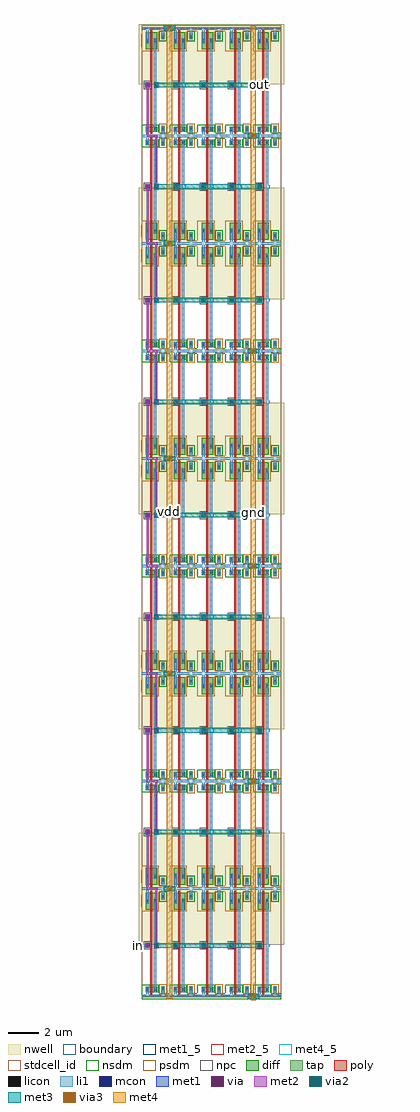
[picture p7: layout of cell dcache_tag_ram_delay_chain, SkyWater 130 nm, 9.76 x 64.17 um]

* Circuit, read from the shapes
.subckt dcache_tag_ram_delay_chain gnd in out vdd
XM1 dcache_tag_ram_pinv_15_1/A in gnd gnd sky130_fd_pr__nfet_01v8 w=0.36 l=0.15
XM2 dcache_tag_ram_pinv_15_10/A dcache_tag_ram_pinv_15_1/A gnd gnd sky130_fd_pr__nfet_01v8 w=0.36 l=0.15
XM3 dcache_tag_ram_pinv_15_11/A dcache_tag_ram_pinv_15_10/A gnd gnd sky130_fd_pr__nfet_01v8 w=0.36 l=0.15
XM4 dcache_tag_ram_pinv_15_16/A dcache_tag_ram_pinv_15_11/A gnd gnd sky130_fd_pr__nfet_01v8 w=0.36 l=0.15
XM5 dcache_tag_ram_pinv_15_21/A dcache_tag_ram_pinv_15_16/A gnd gnd sky130_fd_pr__nfet_01v8 w=0.36 l=0.15
XM6 dcache_tag_ram_pinv_15_26/A dcache_tag_ram_pinv_15_21/A gnd gnd sky130_fd_pr__nfet_01v8 w=0.36 l=0.15
XM7 dcache_tag_ram_pinv_15_31/A dcache_tag_ram_pinv_15_26/A gnd gnd sky130_fd_pr__nfet_01v8 w=0.36 l=0.15
XM8 dcache_tag_ram_pinv_15_36/A dcache_tag_ram_pinv_15_31/A gnd gnd sky130_fd_pr__nfet_01v8 w=0.36 l=0.15
XM9 out dcache_tag_ram_pinv_15_36/A gnd gnd sky130_fd_pr__nfet_01v8 w=0.36 l=0.15
XM10 dcache_tag_ram_pinv_15_1/Z dcache_tag_ram_pinv_15_1/A gnd gnd sky130_fd_pr__nfet_01v8 w=0.36 l=0.15
XM11 dcache_tag_ram_pinv_15_6/Z dcache_tag_ram_pinv_15_10/A gnd gnd sky130_fd_pr__nfet_01v8 w=0.36 l=0.15
XM12 dcache_tag_ram_pinv_15_11/Z dcache_tag_ram_pinv_15_11/A gnd gnd sky130_fd_pr__nfet_01v8 w=0.36 l=0.15
XM13 dcache_tag_ram_pinv_15_16/Z dcache_tag_ram_pinv_15_16/A gnd gnd sky130_fd_pr__nfet_01v8 w=0.36 l=0.15
XM14 dcache_tag_ram_pinv_15_21/Z dcache_tag_ram_pinv_15_21/A gnd gnd sky130_fd_pr__nfet_01v8 w=0.36 l=0.15
XM15 dcache_tag_ram_pinv_15_26/Z dcache_tag_ram_pinv_15_26/A gnd gnd sky130_fd_pr__nfet_01v8 w=0.36 l=0.15
XM16 dcache_tag_ram_pinv_15_31/Z dcache_tag_ram_pinv_15_31/A gnd gnd sky130_fd_pr__nfet_01v8 w=0.36 l=0.15
XM17 dcache_tag_ram_pinv_15_36/Z dcache_tag_ram_pinv_15_36/A gnd gnd sky130_fd_pr__nfet_01v8 w=0.36 l=0.15
XM18 dcache_tag_ram_pinv_15_41/Z out gnd gnd sky130_fd_pr__nfet_01v8 w=0.36 l=0.15
XM19 dcache_tag_ram_pinv_15_2/Z dcache_tag_ram_pinv_15_1/A gnd gnd sky130_fd_pr__nfet_01v8 w=0.36 l=0.15
XM20 dcache_tag_ram_pinv_15_7/Z dcache_tag_ram_pinv_15_10/A gnd gnd sky130_fd_pr__nfet_01v8 w=0.36 l=0.15
XM21 dcache_tag_ram_pinv_15_12/Z dcache_tag_ram_pinv_15_11/A gnd gnd sky130_fd_pr__nfet_01v8 w=0.36 l=0.15
XM22 dcache_tag_ram_pinv_15_17/Z dcache_tag_ram_pinv_15_16/A gnd gnd sky130_fd_pr__nfet_01v8 w=0.36 l=0.15
XM23 dcache_tag_ram_pinv_15_22/Z dcache_tag_ram_pinv_15_21/A gnd gnd sky130_fd_pr__nfet_01v8 w=0.36 l=0.15
XM24 dcache_tag_ram_pinv_15_27/Z dcache_tag_ram_pinv_15_26/A gnd gnd sky130_fd_pr__nfet_01v8 w=0.36 l=0.15
XM25 dcache_tag_ram_pinv_15_32/Z dcache_tag_ram_pinv_15_31/A gnd gnd sky130_fd_pr__nfet_01v8 w=0.36 l=0.15
XM26 dcache_tag_ram_pinv_15_37/Z dcache_tag_ram_pinv_15_36/A gnd gnd sky130_fd_pr__nfet_01v8 w=0.36 l=0.15
XM27 dcache_tag_ram_pinv_15_42/Z out gnd gnd sky130_fd_pr__nfet_01v8 w=0.36 l=0.15
XM28 dcache_tag_ram_pinv_15_3/Z dcache_tag_ram_pinv_15_1/A gnd gnd sky130_fd_pr__nfet_01v8 w=0.36 l=0.15
XM29 dcache_tag_ram_pinv_15_8/Z dcache_tag_ram_pinv_15_10/A gnd gnd sky130_fd_pr__nfet_01v8 w=0.36 l=0.15
XM30 dcache_tag_ram_pinv_15_13/Z dcache_tag_ram_pinv_15_11/A gnd gnd sky130_fd_pr__nfet_01v8 w=0.36 l=0.15
XM31 dcache_tag_ram_pinv_15_18/Z dcache_tag_ram_pinv_15_16/A gnd gnd sky130_fd_pr__nfet_01v8 w=0.36 l=0.15
XM32 dcache_tag_ram_pinv_15_23/Z dcache_tag_ram_pinv_15_21/A gnd gnd sky130_fd_pr__nfet_01v8 w=0.36 l=0.15
XM33 dcache_tag_ram_pinv_15_28/Z dcache_tag_ram_pinv_15_26/A gnd gnd sky130_fd_pr__nfet_01v8 w=0.36 l=0.15
XM34 dcache_tag_ram_pinv_15_33/Z dcache_tag_ram_pinv_15_31/A gnd gnd sky130_fd_pr__nfet_01v8 w=0.36 l=0.15
XM35 dcache_tag_ram_pinv_15_38/Z dcache_tag_ram_pinv_15_36/A gnd gnd sky130_fd_pr__nfet_01v8 w=0.36 l=0.15
XM36 dcache_tag_ram_pinv_15_43/Z out gnd gnd sky130_fd_pr__nfet_01v8 w=0.36 l=0.15
XM37 dcache_tag_ram_pinv_15_4/Z dcache_tag_ram_pinv_15_1/A gnd gnd sky130_fd_pr__nfet_01v8 w=0.36 l=0.15
XM38 dcache_tag_ram_pinv_15_9/Z dcache_tag_ram_pinv_15_10/A gnd gnd sky130_fd_pr__nfet_01v8 w=0.36 l=0.15
XM39 dcache_tag_ram_pinv_15_14/Z dcache_tag_ram_pinv_15_11/A gnd gnd sky130_fd_pr__nfet_01v8 w=0.36 l=0.15
XM40 dcache_tag_ram_pinv_15_19/Z dcache_tag_ram_pinv_15_16/A gnd gnd sky130_fd_pr__nfet_01v8 w=0.36 l=0.15
XM41 dcache_tag_ram_pinv_15_24/Z dcache_tag_ram_pinv_15_21/A gnd gnd sky130_fd_pr__nfet_01v8 w=0.36 l=0.15
XM42 dcache_tag_ram_pinv_15_29/Z dcache_tag_ram_pinv_15_26/A gnd gnd sky130_fd_pr__nfet_01v8 w=0.36 l=0.15
XM43 dcache_tag_ram_pinv_15_34/Z dcache_tag_ram_pinv_15_31/A gnd gnd sky130_fd_pr__nfet_01v8 w=0.36 l=0.15
XM44 dcache_tag_ram_pinv_15_39/Z dcache_tag_ram_pinv_15_36/A gnd gnd sky130_fd_pr__nfet_01v8 w=0.36 l=0.15
XM45 dcache_tag_ram_pinv_15_44/Z out gnd gnd sky130_fd_pr__nfet_01v8 w=0.36 l=0.15
XM46 dcache_tag_ram_pinv_15_1/A in vdd vdd sky130_fd_pr__pfet_01v8 w=1.12 l=0.15
XM47 dcache_tag_ram_pinv_15_10/A dcache_tag_ram_pinv_15_1/A vdd vdd sky130_fd_pr__pfet_01v8 w=1.12 l=0.15
XM48 dcache_tag_ram_pinv_15_11/A dcache_tag_ram_pinv_15_10/A vdd vdd sky130_fd_pr__pfet_01v8 w=1.12 l=0.15
XM49 dcache_tag_ram_pinv_15_16/A dcache_tag_ram_pinv_15_11/A vdd vdd sky130_fd_pr__pfet_01v8 w=1.12 l=0.15
XM50 dcache_tag_ram_pinv_15_21/A dcache_tag_ram_pinv_15_16/A vdd vdd sky130_fd_pr__pfet_01v8 w=1.12 l=0.15
XM51 dcache_tag_ram_pinv_15_26/A dcache_tag_ram_pinv_15_21/A vdd vdd sky130_fd_pr__pfet_01v8 w=1.12 l=0.15
XM52 dcache_tag_ram_pinv_15_31/A dcache_tag_ram_pinv_15_26/A vdd vdd sky130_fd_pr__pfet_01v8 w=1.12 l=0.15
XM53 dcache_tag_ram_pinv_15_36/A dcache_tag_ram_pinv_15_31/A vdd vdd sky130_fd_pr__pfet_01v8 w=1.12 l=0.15
XM54 out dcache_tag_ram_pinv_15_36/A vdd vdd sky130_fd_pr__pfet_01v8 w=1.12 l=0.15
XM55 dcache_tag_ram_pinv_15_1/Z dcache_tag_ram_pinv_15_1/A vdd vdd sky130_fd_pr__pfet_01v8 w=1.12 l=0.15
XM56 dcache_tag_ram_pinv_15_6/Z dcache_tag_ram_pinv_15_10/A vdd vdd sky130_fd_pr__pfet_01v8 w=1.12 l=0.15
XM57 dcache_tag_ram_pinv_15_11/Z dcache_tag_ram_pinv_15_11/A vdd vdd sky130_fd_pr__pfet_01v8 w=1.12 l=0.15
XM58 dcache_tag_ram_pinv_15_16/Z dcache_tag_ram_pinv_15_16/A vdd vdd sky130_fd_pr__pfet_01v8 w=1.12 l=0.15
XM59 dcache_tag_ram_pinv_15_21/Z dcache_tag_ram_pinv_15_21/A vdd vdd sky130_fd_pr__pfet_01v8 w=1.12 l=0.15
XM60 dcache_tag_ram_pinv_15_26/Z dcache_tag_ram_pinv_15_26/A vdd vdd sky130_fd_pr__pfet_01v8 w=1.12 l=0.15
XM61 dcache_tag_ram_pinv_15_31/Z dcache_tag_ram_pinv_15_31/A vdd vdd sky130_fd_pr__pfet_01v8 w=1.12 l=0.15
XM62 dcache_tag_ram_pinv_15_36/Z dcache_tag_ram_pinv_15_36/A vdd vdd sky130_fd_pr__pfet_01v8 w=1.12 l=0.15
XM63 dcache_tag_ram_pinv_15_41/Z out vdd vdd sky130_fd_pr__pfet_01v8 w=1.12 l=0.15
XM64 dcache_tag_ram_pinv_15_2/Z dcache_tag_ram_pinv_15_1/A vdd vdd sky130_fd_pr__pfet_01v8 w=1.12 l=0.15
XM65 dcache_tag_ram_pinv_15_7/Z dcache_tag_ram_pinv_15_10/A vdd vdd sky130_fd_pr__pfet_01v8 w=1.12 l=0.15
XM66 dcache_tag_ram_pinv_15_12/Z dcache_tag_ram_pinv_15_11/A vdd vdd sky130_fd_pr__pfet_01v8 w=1.12 l=0.15
XM67 dcache_tag_ram_pinv_15_17/Z dcache_tag_ram_pinv_15_16/A vdd vdd sky130_fd_pr__pfet_01v8 w=1.12 l=0.15
XM68 dcache_tag_ram_pinv_15_22/Z dcache_tag_ram_pinv_15_21/A vdd vdd sky130_fd_pr__pfet_01v8 w=1.12 l=0.15
XM69 dcache_tag_ram_pinv_15_27/Z dcache_tag_ram_pinv_15_26/A vdd vdd sky130_fd_pr__pfet_01v8 w=1.12 l=0.15
XM70 dcache_tag_ram_pinv_15_32/Z dcache_tag_ram_pinv_15_31/A vdd vdd sky130_fd_pr__pfet_01v8 w=1.12 l=0.15
XM71 dcache_tag_ram_pinv_15_37/Z dcache_tag_ram_pinv_15_36/A vdd vdd sky130_fd_pr__pfet_01v8 w=1.12 l=0.15
XM72 dcache_tag_ram_pinv_15_42/Z out vdd vdd sky130_fd_pr__pfet_01v8 w=1.12 l=0.15
XM73 dcache_tag_ram_pinv_15_3/Z dcache_tag_ram_pinv_15_1/A vdd vdd sky130_fd_pr__pfet_01v8 w=1.12 l=0.15
XM74 dcache_tag_ram_pinv_15_8/Z dcache_tag_ram_pinv_15_10/A vdd vdd sky130_fd_pr__pfet_01v8 w=1.12 l=0.15
XM75 dcache_tag_ram_pinv_15_13/Z dcache_tag_ram_pinv_15_11/A vdd vdd sky130_fd_pr__pfet_01v8 w=1.12 l=0.15
XM76 dcache_tag_ram_pinv_15_18/Z dcache_tag_ram_pinv_15_16/A vdd vdd sky130_fd_pr__pfet_01v8 w=1.12 l=0.15
XM77 dcache_tag_ram_pinv_15_23/Z dcache_tag_ram_pinv_15_21/A vdd vdd sky130_fd_pr__pfet_01v8 w=1.12 l=0.15
XM78 dcache_tag_ram_pinv_15_28/Z dcache_tag_ram_pinv_15_26/A vdd vdd sky130_fd_pr__pfet_01v8 w=1.12 l=0.15
XM79 dcache_tag_ram_pinv_15_33/Z dcache_tag_ram_pinv_15_31/A vdd vdd sky130_fd_pr__pfet_01v8 w=1.12 l=0.15
XM80 dcache_tag_ram_pinv_15_38/Z dcache_tag_ram_pinv_15_36/A vdd vdd sky130_fd_pr__pfet_01v8 w=1.12 l=0.15
XM81 dcache_tag_ram_pinv_15_43/Z out vdd vdd sky130_fd_pr__pfet_01v8 w=1.12 l=0.15
XM82 dcache_tag_ram_pinv_15_4/Z dcache_tag_ram_pinv_15_1/A vdd vdd sky130_fd_pr__pfet_01v8 w=1.12 l=0.15
XM83 dcache_tag_ram_pinv_15_9/Z dcache_tag_ram_pinv_15_10/A vdd vdd sky130_fd_pr__pfet_01v8 w=1.12 l=0.15
XM84 dcache_tag_ram_pinv_15_14/Z dcache_tag_ram_pinv_15_11/A vdd vdd sky130_fd_pr__pfet_01v8 w=1.12 l=0.15
XM85 dcache_tag_ram_pinv_15_19/Z dcache_tag_ram_pinv_15_16/A vdd vdd sky130_fd_pr__pfet_01v8 w=1.12 l=0.15
XM86 dcache_tag_ram_pinv_15_24/Z dcache_tag_ram_pinv_15_21/A vdd vdd sky130_fd_pr__pfet_01v8 w=1.12 l=0.15
XM87 dcache_tag_ram_pinv_15_29/Z dcache_tag_ram_pinv_15_26/A vdd vdd sky130_fd_pr__pfet_01v8 w=1.12 l=0.15
XM88 dcache_tag_ram_pinv_15_34/Z dcache_tag_ram_pinv_15_31/A vdd vdd sky130_fd_pr__pfet_01v8 w=1.12 l=0.15
XM89 dcache_tag_ram_pinv_15_39/Z dcache_tag_ram_pinv_15_36/A vdd vdd sky130_fd_pr__pfet_01v8 w=1.12 l=0.15
XM90 dcache_tag_ram_pinv_15_44/Z out vdd vdd sky130_fd_pr__pfet_01v8 w=1.12 l=0.15
.ends

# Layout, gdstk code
import gdstk
lib = gdstk.Library(unit=1e-6, precision=1e-09)
def R(c, l, rs):  # rectangles x0, y0, x1, y1
    for r in rs: c.add(gdstk.rectangle(r[:2], r[2:], *l))
def A(c, l, x, y, w, h, nx, ny, dx, dy):  # array of equal rectangles
    R(c, l, [(x+i*dx, y+j*dy, x+i*dx+w, y+j*dy+h) for i in range(nx) for j in range(ny)])
nwell = (64, 20)
diff = (65, 20)
tap = (65, 44)
poly = (66, 20)
licon = (66, 44)
li1 = (67, 20)
mcon = (67, 44)
met1_5 = (68, 5)
met1 = (68, 20)
via = (68, 44)
met2_5 = (69, 5)
met2 = (69, 20)
via2 = (69, 44)
met3 = (70, 20)
via3 = (70, 44)
met4_5 = (71, 5)
met4 = (71, 20)
stdcell_id = (81, 4)
nsdm = (93, 44)
psdm = (94, 20)
npc = (95, 20)
boundary = (235, 4)

dcache_tag_ram_contact_1 = lib.new_cell('dcache_tag_ram_contact_11')
R(dcache_tag_ram_contact_1, nwell, [(-0.295,-0.255,0.545,0.585)])
R(dcache_tag_ram_contact_1, diff, [(0,0.02,0.25,0.31)])
R(dcache_tag_ram_contact_1, licon, [(0.04,0.08,0.21,0.25)])
R(dcache_tag_ram_contact_1, li1, [(0.04,0,0.21,0.33)])
R(dcache_tag_ram_contact_1, stdcell_id, [(-0.295,-0.255,0.545,0.585)])
R(dcache_tag_ram_contact_1, psdm, [(-0.125,-0.105,0.375,0.435)])
R(dcache_tag_ram_contact_1, boundary, [(-0.295,-0.255,0.545,0.585)])

dcache_tag_ram_pmos_m1_w = lib.new_cell('dcache_tag_ram_pmos_m1_w1_120_sli_dli_da_p')
R(dcache_tag_ram_pmos_m1_w, nwell, [(-0.27,-0.27,1.02,1.39)])
R(dcache_tag_ram_pmos_m1_w, diff, [(0,0,0.75,1.12)])
R(dcache_tag_ram_pmos_m1_w, poly, [(0.3,-0.13,0.45,1.25), (0.3,-0.13,0.45,1.25)])
R(dcache_tag_ram_pmos_m1_w, li1, [(0.04,0.395,0.21,0.725), (0.54,0.395,0.71,0.725)])
R(dcache_tag_ram_pmos_m1_w, stdcell_id, [(-0.27,-0.27,1.02,1.39)])
R(dcache_tag_ram_pmos_m1_w, psdm, [(-0.125,-0.125,0.875,1.245)])
R(dcache_tag_ram_pmos_m1_w, boundary, [(-0.27,-0.27,1.02,1.39)])
dcache_tag_ram_pmos_m1_w.add(gdstk.Reference(dcache_tag_ram_contact_1, (0,0.395)))
dcache_tag_ram_pmos_m1_w.add(gdstk.Reference(dcache_tag_ram_contact_1, (0.5,0.395)))
dcache_tag_ram_pmos_m1_w.add(gdstk.Label('G', (0.375,0.56), layer=66, texttype=5))
dcache_tag_ram_pmos_m1_w.add(gdstk.Label('S', (0.125,0.56), layer=67, texttype=5))
dcache_tag_ram_pmos_m1_w.add(gdstk.Label('D', (0.625,0.56), layer=67, texttype=5))

c_dcache_tag_ram_contact_1 = lib.new_cell('dcache_tag_ram_contact_10')
R(c_dcache_tag_ram_contact_1, diff, [(0,0.02,0.25,0.31)])
R(c_dcache_tag_ram_contact_1, licon, [(0.04,0.08,0.21,0.25)])
R(c_dcache_tag_ram_contact_1, li1, [(0.04,0,0.21,0.33)])
R(c_dcache_tag_ram_contact_1, stdcell_id, [(-0.125,-0.105,0.375,0.435)])
R(c_dcache_tag_ram_contact_1, nsdm, [(-0.125,-0.105,0.375,0.435)])
R(c_dcache_tag_ram_contact_1, boundary, [(-0.125,-0.105,0.375,0.435)])

dcache_tag_ram_nmos_m1_w = lib.new_cell('dcache_tag_ram_nmos_m1_w0_360_sli_dli_da_p')
R(dcache_tag_ram_nmos_m1_w, diff, [(0,0,0.75,0.36)])
R(dcache_tag_ram_nmos_m1_w, poly, [(0.3,-0.13,0.45,0.49), (0.3,-0.13,0.45,0.49)])
R(dcache_tag_ram_nmos_m1_w, li1, [(0.04,0.015,0.21,0.345), (0.54,0.015,0.71,0.345)])
R(dcache_tag_ram_nmos_m1_w, stdcell_id, [(-0.125,-0.13,0.875,0.49)])
R(dcache_tag_ram_nmos_m1_w, nsdm, [(-0.125,-0.125,0.875,0.485)])
R(dcache_tag_ram_nmos_m1_w, boundary, [(-0.125,-0.13,0.875,0.49)])
dcache_tag_ram_nmos_m1_w.add(gdstk.Reference(c_dcache_tag_ram_contact_1, (0,0.015)))
dcache_tag_ram_nmos_m1_w.add(gdstk.Reference(c_dcache_tag_ram_contact_1, (0.5,0.015)))
dcache_tag_ram_nmos_m1_w.add(gdstk.Label('G', (0.375,0.18), layer=66, texttype=5))
dcache_tag_ram_nmos_m1_w.add(gdstk.Label('S', (0.125,0.18), layer=67, texttype=5))
dcache_tag_ram_nmos_m1_w.add(gdstk.Label('D', (0.625,0.18), layer=67, texttype=5))

dcache_tag_ram_contact_2 = lib.new_cell('dcache_tag_ram_contact_24')
R(dcache_tag_ram_contact_2, nwell, [(-0.295,-0.215,0.545,0.625)])
R(dcache_tag_ram_contact_2, tap, [(0,0,0.25,0.41)])
R(dcache_tag_ram_contact_2, licon, [(0.04,0.12,0.21,0.29)])
R(dcache_tag_ram_contact_2, li1, [(0.04,0.04,0.21,0.37)])
R(dcache_tag_ram_contact_2, stdcell_id, [(-0.295,-0.215,0.545,0.625)])
R(dcache_tag_ram_contact_2, nsdm, [(-0.125,-0.125,0.375,0.535)])
R(dcache_tag_ram_contact_2, boundary, [(-0.295,-0.215,0.545,0.625)])

c_dcache_tag_ram_contact_2 = lib.new_cell('dcache_tag_ram_contact_25')
R(c_dcache_tag_ram_contact_2, tap, [(0,0,0.25,0.41)])
R(c_dcache_tag_ram_contact_2, licon, [(0.04,0.12,0.21,0.29)])
R(c_dcache_tag_ram_contact_2, li1, [(0.04,0.04,0.21,0.37)])
R(c_dcache_tag_ram_contact_2, stdcell_id, [(-0.125,-0.125,0.375,0.535)])
R(c_dcache_tag_ram_contact_2, psdm, [(-0.125,-0.125,0.375,0.535)])
R(c_dcache_tag_ram_contact_2, boundary, [(-0.125,-0.125,0.375,0.535)])

c_dcache_tag_ram_contact_1_ = lib.new_cell('dcache_tag_ram_contact_15')
R(c_dcache_tag_ram_contact_1_, poly, [(0,0,0.33,0.33)])
R(c_dcache_tag_ram_contact_1_, licon, [(0.08,0.08,0.25,0.25)])
R(c_dcache_tag_ram_contact_1_, li1, [(0.08,0,0.25,0.33)])
R(c_dcache_tag_ram_contact_1_, stdcell_id, [(-0.1,-0.1,0.43,0.43)])
R(c_dcache_tag_ram_contact_1_, npc, [(-0.1,-0.1,0.43,0.43)])
R(c_dcache_tag_ram_contact_1_, boundary, [(-0.1,-0.1,0.43,0.43)])

dcache_tag_ram_pinv_15 = lib.new_cell('dcache_tag_ram_pinv_15')
R(dcache_tag_ram_pinv_15, nwell, [(-0.18,3.395,2.02,7.355)])
R(dcache_tag_ram_pinv_15, poly, [(0.57,0.745,0.72,5.565), (0.405,3.18,0.57,3.51)])
R(dcache_tag_ram_pinv_15, li1, [(0,-0.085,1.84,0.085), (0.31,-0.085,0.48,0.27), (1.33,0,1.5,0.46), (0.81,0.27,0.98,6.42), (0.32,3.18,0.49,3.51), (0.895,3.26,1.065,3.43), (0.31,6.09,0.48,7.155), (1.33,6.545,1.5,7.07), (0,6.985,1.84,7.155)])
R(dcache_tag_ram_pinv_15, stdcell_id, [(0,0,1.84,7.07), (0,0,1.84,7.07)])
R(dcache_tag_ram_pinv_15, nsdm, [(0,-0.19,1.84,0.19), (0,0,1.145,0.74)])
R(dcache_tag_ram_pinv_15, psdm, [(0,5.57,1.145,7.07), (0,6.88,1.84,7.26)])
R(dcache_tag_ram_pinv_15, boundary, [(0,0,1.84,7.07), (0,0,1.84,7.07)])
dcache_tag_ram_pinv_15.add(gdstk.Reference(dcache_tag_ram_pmos_m1_w, (0.27,5.695)))
dcache_tag_ram_pinv_15.add(gdstk.Reference(dcache_tag_ram_nmos_m1_w, (0.27,0.255)))
dcache_tag_ram_pinv_15.add(gdstk.Reference(dcache_tag_ram_contact_2, (1.29,6.34)))
dcache_tag_ram_pinv_15.add(gdstk.Reference(c_dcache_tag_ram_contact_2, (1.29,0.255)))
dcache_tag_ram_pinv_15.add(gdstk.Reference(c_dcache_tag_ram_contact_1_, (0.24,3.18)))
dcache_tag_ram_pinv_15.add(gdstk.Label('A', (0.405,3.345), layer=67, texttype=5))
dcache_tag_ram_pinv_15.add(gdstk.Label('Z', (0.98,3.345), layer=67, texttype=5))
dcache_tag_ram_pinv_15.add(gdstk.Label('gnd', (0.92,0), layer=67, texttype=5))
dcache_tag_ram_pinv_15.add(gdstk.Label('vdd', (0.92,7.07), layer=67, texttype=5))

c_dcache_tag_ram_contact_1__ = lib.new_cell('dcache_tag_ram_contact_13')
R(c_dcache_tag_ram_contact_1__, li1, [(0.06,0,0.23,0.33)])
R(c_dcache_tag_ram_contact_1__, mcon, [(0.06,0.08,0.23,0.25)])
R(c_dcache_tag_ram_contact_1__, met1, [(0,0.05,0.29,0.28)])
R(c_dcache_tag_ram_contact_1__, stdcell_id, [(0,0,0.29,0.33)])
R(c_dcache_tag_ram_contact_1__, boundary, [(0,0,0.29,0.33)])

c_dcache_tag_ram_contact_1___ = lib.new_cell('dcache_tag_ram_contact_18')
R(c_dcache_tag_ram_contact_1___, met1, [(0,0.03,0.32,0.29)])
R(c_dcache_tag_ram_contact_1___, via, [(0.085,0.085,0.235,0.235)])
R(c_dcache_tag_ram_contact_1___, met2, [(0.03,0,0.29,0.32)])
R(c_dcache_tag_ram_contact_1___, stdcell_id, [(0,0,0.32,0.32)])
R(c_dcache_tag_ram_contact_1___, boundary, [(0,0,0.32,0.32)])

c_dcache_tag_ram_contact_2_ = lib.new_cell('dcache_tag_ram_contact_21')
R(c_dcache_tag_ram_contact_2_, met2, [(0.025,0,0.305,0.37)])
R(c_dcache_tag_ram_contact_2_, via2, [(0.065,0.085,0.265,0.285)])
R(c_dcache_tag_ram_contact_2_, met3, [(0,0.02,0.33,0.35)])
R(c_dcache_tag_ram_contact_2_, stdcell_id, [(0,0,0.33,0.37)])
R(c_dcache_tag_ram_contact_2_, boundary, [(0,0,0.33,0.37)])

c_dcache_tag_ram_contact_2__ = lib.new_cell('dcache_tag_ram_contact_22')
R(c_dcache_tag_ram_contact_2__, met3, [(0,0.005,0.38,0.325)])
R(c_dcache_tag_ram_contact_2__, via3, [(0.09,0.065,0.29,0.265)])
R(c_dcache_tag_ram_contact_2__, met4, [(0.025,0,0.355,0.33)])
R(c_dcache_tag_ram_contact_2__, stdcell_id, [(0,0,0.38,0.33)])
R(c_dcache_tag_ram_contact_2__, boundary, [(0,0,0.38,0.33)])

dcache_tag_ram_delay_cha = lib.new_cell('dcache_tag_ram_delay_chain')
R(dcache_tag_ram_delay_cha, li1, [(-0.215,3.26,0.405,3.43)])
R(dcache_tag_ram_delay_cha, met1_5, [(7.695,59.835,7.835,59.975)])
A(dcache_tag_ram_delay_cha, met1, 2.085, 3.215, 0.32, 0.26, 4, 2, 1.84, 7.45)
A(dcache_tag_ram_delay_cha, met1, 2.085, 17.355, 0.32, 0.26, 4, 2, 1.84, 7.45)
A(dcache_tag_ram_delay_cha, met1, 2.085, 31.495, 0.32, 0.26, 4, 2, 1.84, 7.45)
A(dcache_tag_ram_delay_cha, met1, 2.085, 45.635, 0.32, 0.26, 4, 2, 1.84, 7.45)
A(dcache_tag_ram_delay_cha, met1, 2.085, 59.775, 0.32, 0.26, 4, 1, 1.84, 0)
R(dcache_tag_ram_delay_cha, met1, [(7.2,-0.13,7.52,0.13), (-0.375,3.215,-0.055,3.475), (0.245,3.215,0.565,3.475), (0.82,3.215,1.14,3.475), (1.68,6.94,2,7.2), (1.68,6.94,2,7.2), (0.245,10.665,0.565,10.925), (0.82,10.665,1.14,10.925), (7.2,14.01,7.52,14.27), (7.2,14.01,7.52,14.27), (0.245,17.355,0.565,17.615), (0.82,17.355,1.14,17.615), (1.68,21.08,2,21.34), (1.68,21.08,2,21.34), (0.245,24.805,0.565,25.065), (0.82,24.805,1.14,25.065), (7.2,28.15,7.52,28.41), (7.2,28.15,7.52,28.41), (0.245,31.495,0.565,31.755), (0.82,31.495,1.14,31.755), (1.68,35.22,2,35.48), (1.68,35.22,2,35.48), (0.245,38.945,0.565,39.205), (0.82,38.945,1.14,39.205), (7.2,42.29,7.52,42.55), (7.2,42.29,7.52,42.55), (0.245,45.635,0.565,45.895), (0.82,45.635,1.14,45.895), (1.68,49.36,2,49.62), (1.68,49.36,2,49.62), (0.245,53.085,0.565,53.345), (0.82,53.085,1.14,53.345), (7.2,56.43,7.52,56.69), (7.2,56.43,7.52,56.69), (0.245,59.775,0.565,60.035), (0.82,59.775,1.14,60.035), (7.695,59.835,7.835,59.975), (1.68,63.5,2,63.76)])
R(dcache_tag_ram_delay_cha, met2_5, [(-0.285,3.275,-0.145,3.415)])
A(dcache_tag_ram_delay_cha, met2, 2.105, 3.22, 0.28, 0.245, 4, 2, 1.84, 7.45)
A(dcache_tag_ram_delay_cha, met2, 0.91, 3.345, 0.14, 3.725, 1, 4, 0, 14.14)
A(dcache_tag_ram_delay_cha, met2, 0.335, 7, 0.14, 0.14, 1, 8, 0, 7.07)
A(dcache_tag_ram_delay_cha, met2, 0.405, 7, 0.575, 0.14, 1, 8, 0, 7.07)
A(dcache_tag_ram_delay_cha, met2, 0.91, 7, 0.14, 0.14, 1, 8, 0, 7.07)
A(dcache_tag_ram_delay_cha, met2, 0.335, 7.07, 0.14, 3.725, 1, 4, 0, 14.14)
A(dcache_tag_ram_delay_cha, met2, 0.91, 10.795, 0.14, 3.345, 1, 4, 0, 14.14)
A(dcache_tag_ram_delay_cha, met2, 0.335, 14.14, 0.14, 3.345, 1, 4, 0, 14.14)
A(dcache_tag_ram_delay_cha, met2, 2.105, 17.36, 0.28, 0.245, 4, 2, 1.84, 7.45)
A(dcache_tag_ram_delay_cha, met2, 2.105, 31.5, 0.28, 0.245, 4, 2, 1.84, 7.45)
A(dcache_tag_ram_delay_cha, met2, 2.105, 45.64, 0.28, 0.245, 4, 2, 1.84, 7.45)
A(dcache_tag_ram_delay_cha, met2, 2.105, 59.78, 0.28, 0.245, 4, 1, 1.84, 0)
R(dcache_tag_ram_delay_cha, met2, [(7.22,-0.12,7.5,0.125), (0.84,3.22,1.12,3.465), (-0.285,3.275,-0.145,3.415), (1.7,6.95,1.98,7.195), (1.7,6.95,1.98,7.195), (0.84,10.67,1.12,10.915), (7.22,14.02,7.5,14.265), (7.22,14.02,7.5,14.265), (0.84,17.36,1.12,17.605), (1.7,21.09,1.98,21.335), (1.7,21.09,1.98,21.335), (0.84,24.81,1.12,25.055), (7.22,28.16,7.5,28.405), (7.22,28.16,7.5,28.405), (0.84,31.5,1.12,31.745), (1.7,35.23,1.98,35.475), (1.7,35.23,1.98,35.475), (0.84,38.95,1.12,39.195), (7.22,42.3,7.5,42.545), (7.22,42.3,7.5,42.545), (0.84,45.64,1.12,45.885), (1.7,49.37,1.98,49.615), (1.7,49.37,1.98,49.615), (0.84,53.09,1.12,53.335), (7.22,56.44,7.5,56.685), (7.22,56.44,7.5,56.685), (0.84,59.78,1.12,60.025), (1.7,63.51,1.98,63.755)])
R(dcache_tag_ram_delay_cha, met3, [(6.985,-0.16,7.735,0.16), (0.98,3.195,7.765,3.495), (1.465,6.91,2.215,7.23), (1.465,6.91,2.215,7.23), (0.98,10.645,7.765,10.945), (6.985,13.98,7.735,14.3), (6.985,13.98,7.735,14.3), (0.98,17.335,7.765,17.635), (1.465,21.05,2.215,21.37), (1.465,21.05,2.215,21.37), (0.98,24.785,7.765,25.085), (6.985,28.12,7.735,28.44), (6.985,28.12,7.735,28.44), (0.98,31.475,7.765,31.775), (1.465,35.19,2.215,35.51), (1.465,35.19,2.215,35.51), (0.98,38.925,7.765,39.225), (6.985,42.26,7.735,42.58), (6.985,42.26,7.735,42.58), (0.98,45.615,7.765,45.915), (1.465,49.33,2.215,49.65), (1.465,49.33,2.215,49.65), (0.98,53.065,7.765,53.365), (6.985,56.4,7.735,56.72), (6.985,56.4,7.735,56.72), (0.98,59.755,7.765,60.055), (1.465,63.47,2.215,63.79)])
R(dcache_tag_ram_delay_cha, met4_5, [(7.195,-0.25,7.525,63.795), (1.675,-0.165,2.005,63.88)])
R(dcache_tag_ram_delay_cha, met4, [(7.195,-0.25,7.525,63.795), (1.675,-0.165,2.005,63.88)])
R(dcache_tag_ram_delay_cha, stdcell_id, [(0,0,9.2,63.63)])
R(dcache_tag_ram_delay_cha, boundary, [(0,0,9.2,63.63)])
dcache_tag_ram_delay_cha.add(gdstk.Reference(dcache_tag_ram_pinv_15, (0,0)))
dcache_tag_ram_delay_cha.add(gdstk.Reference(dcache_tag_ram_pinv_15, (1.84,0)))
dcache_tag_ram_delay_cha.add(gdstk.Reference(dcache_tag_ram_pinv_15, (3.68,0)))
dcache_tag_ram_delay_cha.add(gdstk.Reference(dcache_tag_ram_pinv_15, (5.52,0)))
dcache_tag_ram_delay_cha.add(gdstk.Reference(dcache_tag_ram_pinv_15, (7.36,0)))
dcache_tag_ram_delay_cha.add(gdstk.Reference(dcache_tag_ram_pinv_15, (0,14.14), x_reflection=True))
dcache_tag_ram_delay_cha.add(gdstk.Reference(dcache_tag_ram_pinv_15, (1.84,14.14), x_reflection=True))
dcache_tag_ram_delay_cha.add(gdstk.Reference(dcache_tag_ram_pinv_15, (3.68,14.14), x_reflection=True))
dcache_tag_ram_delay_cha.add(gdstk.Reference(dcache_tag_ram_pinv_15, (5.52,14.14), x_reflection=True))
dcache_tag_ram_delay_cha.add(gdstk.Reference(dcache_tag_ram_pinv_15, (7.36,14.14), x_reflection=True))
dcache_tag_ram_delay_cha.add(gdstk.Reference(dcache_tag_ram_pinv_15, (0,14.14)))
dcache_tag_ram_delay_cha.add(gdstk.Reference(dcache_tag_ram_pinv_15, (1.84,14.14)))
dcache_tag_ram_delay_cha.add(gdstk.Reference(dcache_tag_ram_pinv_15, (3.68,14.14)))
dcache_tag_ram_delay_cha.add(gdstk.Reference(dcache_tag_ram_pinv_15, (5.52,14.14)))
dcache_tag_ram_delay_cha.add(gdstk.Reference(dcache_tag_ram_pinv_15, (7.36,14.14)))
dcache_tag_ram_delay_cha.add(gdstk.Reference(dcache_tag_ram_pinv_15, (0,28.28), x_reflection=True))
dcache_tag_ram_delay_cha.add(gdstk.Reference(dcache_tag_ram_pinv_15, (1.84,28.28), x_reflection=True))
dcache_tag_ram_delay_cha.add(gdstk.Reference(dcache_tag_ram_pinv_15, (3.68,28.28), x_reflection=True))
dcache_tag_ram_delay_cha.add(gdstk.Reference(dcache_tag_ram_pinv_15, (5.52,28.28), x_reflection=True))
dcache_tag_ram_delay_cha.add(gdstk.Reference(dcache_tag_ram_pinv_15, (7.36,28.28), x_reflection=True))
dcache_tag_ram_delay_cha.add(gdstk.Reference(dcache_tag_ram_pinv_15, (0,28.28)))
dcache_tag_ram_delay_cha.add(gdstk.Reference(dcache_tag_ram_pinv_15, (1.84,28.28)))
dcache_tag_ram_delay_cha.add(gdstk.Reference(dcache_tag_ram_pinv_15, (3.68,28.28)))
dcache_tag_ram_delay_cha.add(gdstk.Reference(dcache_tag_ram_pinv_15, (5.52,28.28)))
dcache_tag_ram_delay_cha.add(gdstk.Reference(dcache_tag_ram_pinv_15, (7.36,28.28)))
dcache_tag_ram_delay_cha.add(gdstk.Reference(dcache_tag_ram_pinv_15, (0,42.42), x_reflection=True))
dcache_tag_ram_delay_cha.add(gdstk.Reference(dcache_tag_ram_pinv_15, (1.84,42.42), x_reflection=True))
dcache_tag_ram_delay_cha.add(gdstk.Reference(dcache_tag_ram_pinv_15, (3.68,42.42), x_reflection=True))
dcache_tag_ram_delay_cha.add(gdstk.Reference(dcache_tag_ram_pinv_15, (5.52,42.42), x_reflection=True))
dcache_tag_ram_delay_cha.add(gdstk.Reference(dcache_tag_ram_pinv_15, (7.36,42.42), x_reflection=True))
dcache_tag_ram_delay_cha.add(gdstk.Reference(dcache_tag_ram_pinv_15, (0,42.42)))
dcache_tag_ram_delay_cha.add(gdstk.Reference(dcache_tag_ram_pinv_15, (1.84,42.42)))
dcache_tag_ram_delay_cha.add(gdstk.Reference(dcache_tag_ram_pinv_15, (3.68,42.42)))
dcache_tag_ram_delay_cha.add(gdstk.Reference(dcache_tag_ram_pinv_15, (5.52,42.42)))
dcache_tag_ram_delay_cha.add(gdstk.Reference(dcache_tag_ram_pinv_15, (7.36,42.42)))
dcache_tag_ram_delay_cha.add(gdstk.Reference(dcache_tag_ram_pinv_15, (0,56.56), x_reflection=True))
dcache_tag_ram_delay_cha.add(gdstk.Reference(dcache_tag_ram_pinv_15, (1.84,56.56), x_reflection=True))
dcache_tag_ram_delay_cha.add(gdstk.Reference(dcache_tag_ram_pinv_15, (3.68,56.56), x_reflection=True))
dcache_tag_ram_delay_cha.add(gdstk.Reference(dcache_tag_ram_pinv_15, (5.52,56.56), x_reflection=True))
dcache_tag_ram_delay_cha.add(gdstk.Reference(dcache_tag_ram_pinv_15, (7.36,56.56), x_reflection=True))
dcache_tag_ram_delay_cha.add(gdstk.Reference(dcache_tag_ram_pinv_15, (0,56.56)))
dcache_tag_ram_delay_cha.add(gdstk.Reference(dcache_tag_ram_pinv_15, (1.84,56.56)))
dcache_tag_ram_delay_cha.add(gdstk.Reference(dcache_tag_ram_pinv_15, (3.68,56.56)))
dcache_tag_ram_delay_cha.add(gdstk.Reference(dcache_tag_ram_pinv_15, (5.52,56.56)))
dcache_tag_ram_delay_cha.add(gdstk.Reference(dcache_tag_ram_pinv_15, (7.36,56.56)))
dcache_tag_ram_delay_cha.add(gdstk.Reference(c_dcache_tag_ram_contact_1__, (2.1,3.18)))
dcache_tag_ram_delay_cha.add(gdstk.Reference(c_dcache_tag_ram_contact_1___, (2.085,3.185)))
dcache_tag_ram_delay_cha.add(gdstk.Reference(c_dcache_tag_ram_contact_2_, (2.08,3.16)))
dcache_tag_ram_delay_cha.add(gdstk.Reference(c_dcache_tag_ram_contact_1__, (3.94,3.18)))
dcache_tag_ram_delay_cha.add(gdstk.Reference(c_dcache_tag_ram_contact_1___, (3.925,3.185)))
dcache_tag_ram_delay_cha.add(gdstk.Reference(c_dcache_tag_ram_contact_2_, (3.92,3.16)))
dcache_tag_ram_delay_cha.add(gdstk.Reference(c_dcache_tag_ram_contact_1__, (5.78,3.18)))
dcache_tag_ram_delay_cha.add(gdstk.Reference(c_dcache_tag_ram_contact_1___, (5.765,3.185)))
dcache_tag_ram_delay_cha.add(gdstk.Reference(c_dcache_tag_ram_contact_2_, (5.76,3.16)))
dcache_tag_ram_delay_cha.add(gdstk.Reference(c_dcache_tag_ram_contact_1__, (7.62,3.18)))
dcache_tag_ram_delay_cha.add(gdstk.Reference(c_dcache_tag_ram_contact_1___, (7.605,3.185)))
dcache_tag_ram_delay_cha.add(gdstk.Reference(c_dcache_tag_ram_contact_2_, (7.6,3.16)))
dcache_tag_ram_delay_cha.add(gdstk.Reference(c_dcache_tag_ram_contact_1__, (0.26,3.18)))
dcache_tag_ram_delay_cha.add(gdstk.Reference(c_dcache_tag_ram_contact_1___, (0.245,3.185)))
dcache_tag_ram_delay_cha.add(gdstk.Reference(c_dcache_tag_ram_contact_1__, (0.835,3.18)))
dcache_tag_ram_delay_cha.add(gdstk.Reference(c_dcache_tag_ram_contact_1___, (0.82,3.185)))
dcache_tag_ram_delay_cha.add(gdstk.Reference(c_dcache_tag_ram_contact_2_, (0.815,3.16)))
dcache_tag_ram_delay_cha.add(gdstk.Reference(c_dcache_tag_ram_contact_1__, (2.1,10.63)))
dcache_tag_ram_delay_cha.add(gdstk.Reference(c_dcache_tag_ram_contact_1___, (2.085,10.635)))
dcache_tag_ram_delay_cha.add(gdstk.Reference(c_dcache_tag_ram_contact_2_, (2.08,10.61)))
dcache_tag_ram_delay_cha.add(gdstk.Reference(c_dcache_tag_ram_contact_1__, (3.94,10.63)))
dcache_tag_ram_delay_cha.add(gdstk.Reference(c_dcache_tag_ram_contact_1___, (3.925,10.635)))
dcache_tag_ram_delay_cha.add(gdstk.Reference(c_dcache_tag_ram_contact_2_, (3.92,10.61)))
dcache_tag_ram_delay_cha.add(gdstk.Reference(c_dcache_tag_ram_contact_1__, (5.78,10.63)))
dcache_tag_ram_delay_cha.add(gdstk.Reference(c_dcache_tag_ram_contact_1___, (5.765,10.635)))
dcache_tag_ram_delay_cha.add(gdstk.Reference(c_dcache_tag_ram_contact_2_, (5.76,10.61)))
dcache_tag_ram_delay_cha.add(gdstk.Reference(c_dcache_tag_ram_contact_1__, (7.62,10.63)))
dcache_tag_ram_delay_cha.add(gdstk.Reference(c_dcache_tag_ram_contact_1___, (7.605,10.635)))
dcache_tag_ram_delay_cha.add(gdstk.Reference(c_dcache_tag_ram_contact_2_, (7.6,10.61)))
dcache_tag_ram_delay_cha.add(gdstk.Reference(c_dcache_tag_ram_contact_1__, (0.26,10.63)))
dcache_tag_ram_delay_cha.add(gdstk.Reference(c_dcache_tag_ram_contact_1___, (0.245,10.635)))
dcache_tag_ram_delay_cha.add(gdstk.Reference(c_dcache_tag_ram_contact_1__, (0.835,10.63)))
dcache_tag_ram_delay_cha.add(gdstk.Reference(c_dcache_tag_ram_contact_1___, (0.82,10.635)))
dcache_tag_ram_delay_cha.add(gdstk.Reference(c_dcache_tag_ram_contact_2_, (0.815,10.61)))
dcache_tag_ram_delay_cha.add(gdstk.Reference(c_dcache_tag_ram_contact_1__, (2.1,17.32)))
dcache_tag_ram_delay_cha.add(gdstk.Reference(c_dcache_tag_ram_contact_1___, (2.085,17.325)))
dcache_tag_ram_delay_cha.add(gdstk.Reference(c_dcache_tag_ram_contact_2_, (2.08,17.3)))
dcache_tag_ram_delay_cha.add(gdstk.Reference(c_dcache_tag_ram_contact_1__, (3.94,17.32)))
dcache_tag_ram_delay_cha.add(gdstk.Reference(c_dcache_tag_ram_contact_1___, (3.925,17.325)))
dcache_tag_ram_delay_cha.add(gdstk.Reference(c_dcache_tag_ram_contact_2_, (3.92,17.3)))
dcache_tag_ram_delay_cha.add(gdstk.Reference(c_dcache_tag_ram_contact_1__, (5.78,17.32)))
dcache_tag_ram_delay_cha.add(gdstk.Reference(c_dcache_tag_ram_contact_1___, (5.765,17.325)))
dcache_tag_ram_delay_cha.add(gdstk.Reference(c_dcache_tag_ram_contact_2_, (5.76,17.3)))
dcache_tag_ram_delay_cha.add(gdstk.Reference(c_dcache_tag_ram_contact_1__, (7.62,17.32)))
dcache_tag_ram_delay_cha.add(gdstk.Reference(c_dcache_tag_ram_contact_1___, (7.605,17.325)))
dcache_tag_ram_delay_cha.add(gdstk.Reference(c_dcache_tag_ram_contact_2_, (7.6,17.3)))
dcache_tag_ram_delay_cha.add(gdstk.Reference(c_dcache_tag_ram_contact_1__, (0.26,17.32)))
dcache_tag_ram_delay_cha.add(gdstk.Reference(c_dcache_tag_ram_contact_1___, (0.245,17.325)))
dcache_tag_ram_delay_cha.add(gdstk.Reference(c_dcache_tag_ram_contact_1__, (0.835,17.32)))
dcache_tag_ram_delay_cha.add(gdstk.Reference(c_dcache_tag_ram_contact_1___, (0.82,17.325)))
dcache_tag_ram_delay_cha.add(gdstk.Reference(c_dcache_tag_ram_contact_2_, (0.815,17.3)))
dcache_tag_ram_delay_cha.add(gdstk.Reference(c_dcache_tag_ram_contact_1__, (2.1,24.77)))
dcache_tag_ram_delay_cha.add(gdstk.Reference(c_dcache_tag_ram_contact_1___, (2.085,24.775)))
dcache_tag_ram_delay_cha.add(gdstk.Reference(c_dcache_tag_ram_contact_2_, (2.08,24.75)))
dcache_tag_ram_delay_cha.add(gdstk.Reference(c_dcache_tag_ram_contact_1__, (3.94,24.77)))
dcache_tag_ram_delay_cha.add(gdstk.Reference(c_dcache_tag_ram_contact_1___, (3.925,24.775)))
dcache_tag_ram_delay_cha.add(gdstk.Reference(c_dcache_tag_ram_contact_2_, (3.92,24.75)))
dcache_tag_ram_delay_cha.add(gdstk.Reference(c_dcache_tag_ram_contact_1__, (5.78,24.77)))
dcache_tag_ram_delay_cha.add(gdstk.Reference(c_dcache_tag_ram_contact_1___, (5.765,24.775)))
dcache_tag_ram_delay_cha.add(gdstk.Reference(c_dcache_tag_ram_contact_2_, (5.76,24.75)))
dcache_tag_ram_delay_cha.add(gdstk.Reference(c_dcache_tag_ram_contact_1__, (7.62,24.77)))
dcache_tag_ram_delay_cha.add(gdstk.Reference(c_dcache_tag_ram_contact_1___, (7.605,24.775)))
dcache_tag_ram_delay_cha.add(gdstk.Reference(c_dcache_tag_ram_contact_2_, (7.6,24.75)))
dcache_tag_ram_delay_cha.add(gdstk.Reference(c_dcache_tag_ram_contact_1__, (0.26,24.77)))
dcache_tag_ram_delay_cha.add(gdstk.Reference(c_dcache_tag_ram_contact_1___, (0.245,24.775)))
dcache_tag_ram_delay_cha.add(gdstk.Reference(c_dcache_tag_ram_contact_1__, (0.835,24.77)))
dcache_tag_ram_delay_cha.add(gdstk.Reference(c_dcache_tag_ram_contact_1___, (0.82,24.775)))
dcache_tag_ram_delay_cha.add(gdstk.Reference(c_dcache_tag_ram_contact_2_, (0.815,24.75)))
dcache_tag_ram_delay_cha.add(gdstk.Reference(c_dcache_tag_ram_contact_1__, (2.1,31.46)))
dcache_tag_ram_delay_cha.add(gdstk.Reference(c_dcache_tag_ram_contact_1___, (2.085,31.465)))
dcache_tag_ram_delay_cha.add(gdstk.Reference(c_dcache_tag_ram_contact_2_, (2.08,31.44)))
dcache_tag_ram_delay_cha.add(gdstk.Reference(c_dcache_tag_ram_contact_1__, (3.94,31.46)))
dcache_tag_ram_delay_cha.add(gdstk.Reference(c_dcache_tag_ram_contact_1___, (3.925,31.465)))
dcache_tag_ram_delay_cha.add(gdstk.Reference(c_dcache_tag_ram_contact_2_, (3.92,31.44)))
dcache_tag_ram_delay_cha.add(gdstk.Reference(c_dcache_tag_ram_contact_1__, (5.78,31.46)))
dcache_tag_ram_delay_cha.add(gdstk.Reference(c_dcache_tag_ram_contact_1___, (5.765,31.465)))
dcache_tag_ram_delay_cha.add(gdstk.Reference(c_dcache_tag_ram_contact_2_, (5.76,31.44)))
dcache_tag_ram_delay_cha.add(gdstk.Reference(c_dcache_tag_ram_contact_1__, (7.62,31.46)))
dcache_tag_ram_delay_cha.add(gdstk.Reference(c_dcache_tag_ram_contact_1___, (7.605,31.465)))
dcache_tag_ram_delay_cha.add(gdstk.Reference(c_dcache_tag_ram_contact_2_, (7.6,31.44)))
dcache_tag_ram_delay_cha.add(gdstk.Reference(c_dcache_tag_ram_contact_1__, (0.26,31.46)))
dcache_tag_ram_delay_cha.add(gdstk.Reference(c_dcache_tag_ram_contact_1___, (0.245,31.465)))
dcache_tag_ram_delay_cha.add(gdstk.Reference(c_dcache_tag_ram_contact_1__, (0.835,31.46)))
dcache_tag_ram_delay_cha.add(gdstk.Reference(c_dcache_tag_ram_contact_1___, (0.82,31.465)))
dcache_tag_ram_delay_cha.add(gdstk.Reference(c_dcache_tag_ram_contact_2_, (0.815,31.44)))
dcache_tag_ram_delay_cha.add(gdstk.Reference(c_dcache_tag_ram_contact_1__, (2.1,38.91)))
dcache_tag_ram_delay_cha.add(gdstk.Reference(c_dcache_tag_ram_contact_1___, (2.085,38.915)))
dcache_tag_ram_delay_cha.add(gdstk.Reference(c_dcache_tag_ram_contact_2_, (2.08,38.89)))
dcache_tag_ram_delay_cha.add(gdstk.Reference(c_dcache_tag_ram_contact_1__, (3.94,38.91)))
dcache_tag_ram_delay_cha.add(gdstk.Reference(c_dcache_tag_ram_contact_1___, (3.925,38.915)))
dcache_tag_ram_delay_cha.add(gdstk.Reference(c_dcache_tag_ram_contact_2_, (3.92,38.89)))
dcache_tag_ram_delay_cha.add(gdstk.Reference(c_dcache_tag_ram_contact_1__, (5.78,38.91)))
dcache_tag_ram_delay_cha.add(gdstk.Reference(c_dcache_tag_ram_contact_1___, (5.765,38.915)))
dcache_tag_ram_delay_cha.add(gdstk.Reference(c_dcache_tag_ram_contact_2_, (5.76,38.89)))
dcache_tag_ram_delay_cha.add(gdstk.Reference(c_dcache_tag_ram_contact_1__, (7.62,38.91)))
dcache_tag_ram_delay_cha.add(gdstk.Reference(c_dcache_tag_ram_contact_1___, (7.605,38.915)))
dcache_tag_ram_delay_cha.add(gdstk.Reference(c_dcache_tag_ram_contact_2_, (7.6,38.89)))
dcache_tag_ram_delay_cha.add(gdstk.Reference(c_dcache_tag_ram_contact_1__, (0.26,38.91)))
dcache_tag_ram_delay_cha.add(gdstk.Reference(c_dcache_tag_ram_contact_1___, (0.245,38.915)))
dcache_tag_ram_delay_cha.add(gdstk.Reference(c_dcache_tag_ram_contact_1__, (0.835,38.91)))
dcache_tag_ram_delay_cha.add(gdstk.Reference(c_dcache_tag_ram_contact_1___, (0.82,38.915)))
dcache_tag_ram_delay_cha.add(gdstk.Reference(c_dcache_tag_ram_contact_2_, (0.815,38.89)))
dcache_tag_ram_delay_cha.add(gdstk.Reference(c_dcache_tag_ram_contact_1__, (2.1,45.6)))
dcache_tag_ram_delay_cha.add(gdstk.Reference(c_dcache_tag_ram_contact_1___, (2.085,45.605)))
dcache_tag_ram_delay_cha.add(gdstk.Reference(c_dcache_tag_ram_contact_2_, (2.08,45.58)))
dcache_tag_ram_delay_cha.add(gdstk.Reference(c_dcache_tag_ram_contact_1__, (3.94,45.6)))
dcache_tag_ram_delay_cha.add(gdstk.Reference(c_dcache_tag_ram_contact_1___, (3.925,45.605)))
dcache_tag_ram_delay_cha.add(gdstk.Reference(c_dcache_tag_ram_contact_2_, (3.92,45.58)))
dcache_tag_ram_delay_cha.add(gdstk.Reference(c_dcache_tag_ram_contact_1__, (5.78,45.6)))
dcache_tag_ram_delay_cha.add(gdstk.Reference(c_dcache_tag_ram_contact_1___, (5.765,45.605)))
dcache_tag_ram_delay_cha.add(gdstk.Reference(c_dcache_tag_ram_contact_2_, (5.76,45.58)))
dcache_tag_ram_delay_cha.add(gdstk.Reference(c_dcache_tag_ram_contact_1__, (7.62,45.6)))
dcache_tag_ram_delay_cha.add(gdstk.Reference(c_dcache_tag_ram_contact_1___, (7.605,45.605)))
dcache_tag_ram_delay_cha.add(gdstk.Reference(c_dcache_tag_ram_contact_2_, (7.6,45.58)))
dcache_tag_ram_delay_cha.add(gdstk.Reference(c_dcache_tag_ram_contact_1__, (0.26,45.6)))
dcache_tag_ram_delay_cha.add(gdstk.Reference(c_dcache_tag_ram_contact_1___, (0.245,45.605)))
dcache_tag_ram_delay_cha.add(gdstk.Reference(c_dcache_tag_ram_contact_1__, (0.835,45.6)))
dcache_tag_ram_delay_cha.add(gdstk.Reference(c_dcache_tag_ram_contact_1___, (0.82,45.605)))
dcache_tag_ram_delay_cha.add(gdstk.Reference(c_dcache_tag_ram_contact_2_, (0.815,45.58)))
dcache_tag_ram_delay_cha.add(gdstk.Reference(c_dcache_tag_ram_contact_1__, (2.1,53.05)))
dcache_tag_ram_delay_cha.add(gdstk.Reference(c_dcache_tag_ram_contact_1___, (2.085,53.055)))
dcache_tag_ram_delay_cha.add(gdstk.Reference(c_dcache_tag_ram_contact_2_, (2.08,53.03)))
dcache_tag_ram_delay_cha.add(gdstk.Reference(c_dcache_tag_ram_contact_1__, (3.94,53.05)))
dcache_tag_ram_delay_cha.add(gdstk.Reference(c_dcache_tag_ram_contact_1___, (3.925,53.055)))
dcache_tag_ram_delay_cha.add(gdstk.Reference(c_dcache_tag_ram_contact_2_, (3.92,53.03)))
dcache_tag_ram_delay_cha.add(gdstk.Reference(c_dcache_tag_ram_contact_1__, (5.78,53.05)))
dcache_tag_ram_delay_cha.add(gdstk.Reference(c_dcache_tag_ram_contact_1___, (5.765,53.055)))
dcache_tag_ram_delay_cha.add(gdstk.Reference(c_dcache_tag_ram_contact_2_, (5.76,53.03)))
dcache_tag_ram_delay_cha.add(gdstk.Reference(c_dcache_tag_ram_contact_1__, (7.62,53.05)))
dcache_tag_ram_delay_cha.add(gdstk.Reference(c_dcache_tag_ram_contact_1___, (7.605,53.055)))
dcache_tag_ram_delay_cha.add(gdstk.Reference(c_dcache_tag_ram_contact_2_, (7.6,53.03)))
dcache_tag_ram_delay_cha.add(gdstk.Reference(c_dcache_tag_ram_contact_1__, (0.26,53.05)))
dcache_tag_ram_delay_cha.add(gdstk.Reference(c_dcache_tag_ram_contact_1___, (0.245,53.055)))
dcache_tag_ram_delay_cha.add(gdstk.Reference(c_dcache_tag_ram_contact_1__, (0.835,53.05)))
dcache_tag_ram_delay_cha.add(gdstk.Reference(c_dcache_tag_ram_contact_1___, (0.82,53.055)))
dcache_tag_ram_delay_cha.add(gdstk.Reference(c_dcache_tag_ram_contact_2_, (0.815,53.03)))
dcache_tag_ram_delay_cha.add(gdstk.Reference(c_dcache_tag_ram_contact_1__, (2.1,59.74)))
dcache_tag_ram_delay_cha.add(gdstk.Reference(c_dcache_tag_ram_contact_1___, (2.085,59.745)))
dcache_tag_ram_delay_cha.add(gdstk.Reference(c_dcache_tag_ram_contact_2_, (2.08,59.72)))
dcache_tag_ram_delay_cha.add(gdstk.Reference(c_dcache_tag_ram_contact_1__, (3.94,59.74)))
dcache_tag_ram_delay_cha.add(gdstk.Reference(c_dcache_tag_ram_contact_1___, (3.925,59.745)))
dcache_tag_ram_delay_cha.add(gdstk.Reference(c_dcache_tag_ram_contact_2_, (3.92,59.72)))
dcache_tag_ram_delay_cha.add(gdstk.Reference(c_dcache_tag_ram_contact_1__, (5.78,59.74)))
dcache_tag_ram_delay_cha.add(gdstk.Reference(c_dcache_tag_ram_contact_1___, (5.765,59.745)))
dcache_tag_ram_delay_cha.add(gdstk.Reference(c_dcache_tag_ram_contact_2_, (5.76,59.72)))
dcache_tag_ram_delay_cha.add(gdstk.Reference(c_dcache_tag_ram_contact_1__, (7.62,59.74)))
dcache_tag_ram_delay_cha.add(gdstk.Reference(c_dcache_tag_ram_contact_1___, (7.605,59.745)))
dcache_tag_ram_delay_cha.add(gdstk.Reference(c_dcache_tag_ram_contact_2_, (7.6,59.72)))
dcache_tag_ram_delay_cha.add(gdstk.Reference(c_dcache_tag_ram_contact_1__, (0.26,59.74)))
dcache_tag_ram_delay_cha.add(gdstk.Reference(c_dcache_tag_ram_contact_1___, (0.245,59.745)))
dcache_tag_ram_delay_cha.add(gdstk.Reference(c_dcache_tag_ram_contact_1__, (0.835,59.74)))
dcache_tag_ram_delay_cha.add(gdstk.Reference(c_dcache_tag_ram_contact_1___, (0.82,59.745)))
dcache_tag_ram_delay_cha.add(gdstk.Reference(c_dcache_tag_ram_contact_2_, (0.815,59.72)))
dcache_tag_ram_delay_cha.add(gdstk.Reference(c_dcache_tag_ram_contact_1__, (1.695,6.905)))
dcache_tag_ram_delay_cha.add(gdstk.Reference(c_dcache_tag_ram_contact_1___, (1.68,6.91)))
dcache_tag_ram_delay_cha.add(gdstk.Reference(c_dcache_tag_ram_contact_2_, (1.675,6.885)))
dcache_tag_ram_delay_cha.add(gdstk.Reference(c_dcache_tag_ram_contact_2__, (1.65,6.905)))
dcache_tag_ram_delay_cha.add(gdstk.Reference(c_dcache_tag_ram_contact_1__, (1.695,6.905)))
dcache_tag_ram_delay_cha.add(gdstk.Reference(c_dcache_tag_ram_contact_1___, (1.68,6.91)))
dcache_tag_ram_delay_cha.add(gdstk.Reference(c_dcache_tag_ram_contact_2_, (1.675,6.885)))
dcache_tag_ram_delay_cha.add(gdstk.Reference(c_dcache_tag_ram_contact_2__, (1.65,6.905)))
dcache_tag_ram_delay_cha.add(gdstk.Reference(c_dcache_tag_ram_contact_1__, (1.695,21.045)))
dcache_tag_ram_delay_cha.add(gdstk.Reference(c_dcache_tag_ram_contact_1___, (1.68,21.05)))
dcache_tag_ram_delay_cha.add(gdstk.Reference(c_dcache_tag_ram_contact_2_, (1.675,21.025)))
dcache_tag_ram_delay_cha.add(gdstk.Reference(c_dcache_tag_ram_contact_2__, (1.65,21.045)))
dcache_tag_ram_delay_cha.add(gdstk.Reference(c_dcache_tag_ram_contact_1__, (1.695,21.045)))
dcache_tag_ram_delay_cha.add(gdstk.Reference(c_dcache_tag_ram_contact_1___, (1.68,21.05)))
dcache_tag_ram_delay_cha.add(gdstk.Reference(c_dcache_tag_ram_contact_2_, (1.675,21.025)))
dcache_tag_ram_delay_cha.add(gdstk.Reference(c_dcache_tag_ram_contact_2__, (1.65,21.045)))
dcache_tag_ram_delay_cha.add(gdstk.Reference(c_dcache_tag_ram_contact_1__, (1.695,35.185)))
dcache_tag_ram_delay_cha.add(gdstk.Reference(c_dcache_tag_ram_contact_1___, (1.68,35.19)))
dcache_tag_ram_delay_cha.add(gdstk.Reference(c_dcache_tag_ram_contact_2_, (1.675,35.165)))
dcache_tag_ram_delay_cha.add(gdstk.Reference(c_dcache_tag_ram_contact_2__, (1.65,35.185)))
dcache_tag_ram_delay_cha.add(gdstk.Reference(c_dcache_tag_ram_contact_1__, (1.695,35.185)))
dcache_tag_ram_delay_cha.add(gdstk.Reference(c_dcache_tag_ram_contact_1___, (1.68,35.19)))
dcache_tag_ram_delay_cha.add(gdstk.Reference(c_dcache_tag_ram_contact_2_, (1.675,35.165)))
dcache_tag_ram_delay_cha.add(gdstk.Reference(c_dcache_tag_ram_contact_2__, (1.65,35.185)))
dcache_tag_ram_delay_cha.add(gdstk.Reference(c_dcache_tag_ram_contact_1__, (1.695,49.325)))
dcache_tag_ram_delay_cha.add(gdstk.Reference(c_dcache_tag_ram_contact_1___, (1.68,49.33)))
dcache_tag_ram_delay_cha.add(gdstk.Reference(c_dcache_tag_ram_contact_2_, (1.675,49.305)))
dcache_tag_ram_delay_cha.add(gdstk.Reference(c_dcache_tag_ram_contact_2__, (1.65,49.325)))
dcache_tag_ram_delay_cha.add(gdstk.Reference(c_dcache_tag_ram_contact_1__, (1.695,49.325)))
dcache_tag_ram_delay_cha.add(gdstk.Reference(c_dcache_tag_ram_contact_1___, (1.68,49.33)))
dcache_tag_ram_delay_cha.add(gdstk.Reference(c_dcache_tag_ram_contact_2_, (1.675,49.305)))
dcache_tag_ram_delay_cha.add(gdstk.Reference(c_dcache_tag_ram_contact_2__, (1.65,49.325)))
dcache_tag_ram_delay_cha.add(gdstk.Reference(c_dcache_tag_ram_contact_1__, (1.695,63.465)))
dcache_tag_ram_delay_cha.add(gdstk.Reference(c_dcache_tag_ram_contact_1___, (1.68,63.47)))
dcache_tag_ram_delay_cha.add(gdstk.Reference(c_dcache_tag_ram_contact_2_, (1.675,63.445)))
dcache_tag_ram_delay_cha.add(gdstk.Reference(c_dcache_tag_ram_contact_2__, (1.65,63.465)))
dcache_tag_ram_delay_cha.add(gdstk.Reference(c_dcache_tag_ram_contact_1__, (7.215,-0.165)))
dcache_tag_ram_delay_cha.add(gdstk.Reference(c_dcache_tag_ram_contact_1___, (7.2,-0.16)))
dcache_tag_ram_delay_cha.add(gdstk.Reference(c_dcache_tag_ram_contact_2_, (7.195,-0.185)))
dcache_tag_ram_delay_cha.add(gdstk.Reference(c_dcache_tag_ram_contact_2__, (7.17,-0.165)))
dcache_tag_ram_delay_cha.add(gdstk.Reference(c_dcache_tag_ram_contact_1__, (7.215,13.975)))
dcache_tag_ram_delay_cha.add(gdstk.Reference(c_dcache_tag_ram_contact_1___, (7.2,13.98)))
dcache_tag_ram_delay_cha.add(gdstk.Reference(c_dcache_tag_ram_contact_2_, (7.195,13.955)))
dcache_tag_ram_delay_cha.add(gdstk.Reference(c_dcache_tag_ram_contact_2__, (7.17,13.975)))
dcache_tag_ram_delay_cha.add(gdstk.Reference(c_dcache_tag_ram_contact_1__, (7.215,13.975)))
dcache_tag_ram_delay_cha.add(gdstk.Reference(c_dcache_tag_ram_contact_1___, (7.2,13.98)))
dcache_tag_ram_delay_cha.add(gdstk.Reference(c_dcache_tag_ram_contact_2_, (7.195,13.955)))
dcache_tag_ram_delay_cha.add(gdstk.Reference(c_dcache_tag_ram_contact_2__, (7.17,13.975)))
dcache_tag_ram_delay_cha.add(gdstk.Reference(c_dcache_tag_ram_contact_1__, (7.215,28.115)))
dcache_tag_ram_delay_cha.add(gdstk.Reference(c_dcache_tag_ram_contact_1___, (7.2,28.12)))
dcache_tag_ram_delay_cha.add(gdstk.Reference(c_dcache_tag_ram_contact_2_, (7.195,28.095)))
dcache_tag_ram_delay_cha.add(gdstk.Reference(c_dcache_tag_ram_contact_2__, (7.17,28.115)))
dcache_tag_ram_delay_cha.add(gdstk.Reference(c_dcache_tag_ram_contact_1__, (7.215,28.115)))
dcache_tag_ram_delay_cha.add(gdstk.Reference(c_dcache_tag_ram_contact_1___, (7.2,28.12)))
dcache_tag_ram_delay_cha.add(gdstk.Reference(c_dcache_tag_ram_contact_2_, (7.195,28.095)))
dcache_tag_ram_delay_cha.add(gdstk.Reference(c_dcache_tag_ram_contact_2__, (7.17,28.115)))
dcache_tag_ram_delay_cha.add(gdstk.Reference(c_dcache_tag_ram_contact_1__, (7.215,42.255)))
dcache_tag_ram_delay_cha.add(gdstk.Reference(c_dcache_tag_ram_contact_1___, (7.2,42.26)))
dcache_tag_ram_delay_cha.add(gdstk.Reference(c_dcache_tag_ram_contact_2_, (7.195,42.235)))
dcache_tag_ram_delay_cha.add(gdstk.Reference(c_dcache_tag_ram_contact_2__, (7.17,42.255)))
dcache_tag_ram_delay_cha.add(gdstk.Reference(c_dcache_tag_ram_contact_1__, (7.215,42.255)))
dcache_tag_ram_delay_cha.add(gdstk.Reference(c_dcache_tag_ram_contact_1___, (7.2,42.26)))
dcache_tag_ram_delay_cha.add(gdstk.Reference(c_dcache_tag_ram_contact_2_, (7.195,42.235)))
dcache_tag_ram_delay_cha.add(gdstk.Reference(c_dcache_tag_ram_contact_2__, (7.17,42.255)))
dcache_tag_ram_delay_cha.add(gdstk.Reference(c_dcache_tag_ram_contact_1__, (7.215,56.395)))
dcache_tag_ram_delay_cha.add(gdstk.Reference(c_dcache_tag_ram_contact_1___, (7.2,56.4)))
dcache_tag_ram_delay_cha.add(gdstk.Reference(c_dcache_tag_ram_contact_2_, (7.195,56.375)))
dcache_tag_ram_delay_cha.add(gdstk.Reference(c_dcache_tag_ram_contact_2__, (7.17,56.395)))
dcache_tag_ram_delay_cha.add(gdstk.Reference(c_dcache_tag_ram_contact_1__, (7.215,56.395)))
dcache_tag_ram_delay_cha.add(gdstk.Reference(c_dcache_tag_ram_contact_1___, (7.2,56.4)))
dcache_tag_ram_delay_cha.add(gdstk.Reference(c_dcache_tag_ram_contact_2_, (7.195,56.375)))
dcache_tag_ram_delay_cha.add(gdstk.Reference(c_dcache_tag_ram_contact_2__, (7.17,56.395)))
dcache_tag_ram_delay_cha.add(gdstk.Reference(c_dcache_tag_ram_contact_1__, (-0.36,3.18)))
dcache_tag_ram_delay_cha.add(gdstk.Reference(c_dcache_tag_ram_contact_1___, (-0.375,3.185)))
dcache_tag_ram_delay_cha.add(gdstk.Reference(c_dcache_tag_ram_contact_1__, (7.62,59.74)))
dcache_tag_ram_delay_cha.add(gdstk.Label('vdd', (1.84,31.858), layer=71, texttype=5))
dcache_tag_ram_delay_cha.add(gdstk.Label('gnd', (7.36,31.772), layer=71, texttype=5))
dcache_tag_ram_delay_cha.add(gdstk.Label('in', (-0.215,3.345), layer=69, texttype=5))
dcache_tag_ram_delay_cha.add(gdstk.Label('out', (7.765,59.905), layer=68, texttype=5))

lib.write_gds('dcache_tag_ram_delay_chain.gds')
